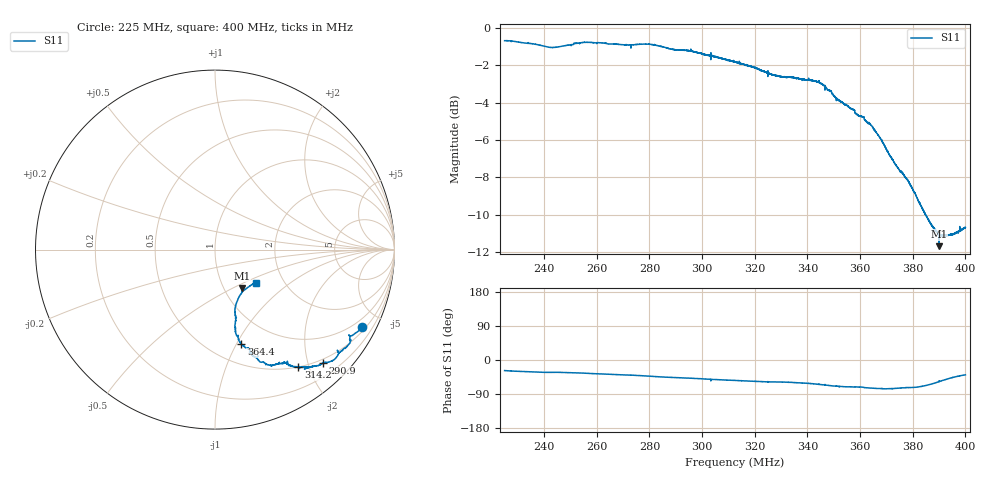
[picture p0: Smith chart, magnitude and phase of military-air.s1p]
! Calibrated averaged scanner-service zoom
# Hz S RI R 50
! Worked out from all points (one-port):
!   10001 points, 225 MHz to 400 MHz, reference 50 ohm
!   lowest |S11| = -11.7 dB at 390 MHz (marker M1), VSWR 1.71, Z = 60.7 - j27.8 ohm
!   |S11| at or under -10 dB: 384.9 MHz to end of sweep
!   S11 on the Smith chart (normalised r, x): 225 MHz: 0.67, -3.92; 290.9 MHz: 0.43, -2.27; 314.2 MHz: 0.50, -1.83; 364.4 MHz: 0.70, -1.05; 400 MHz: 1.45, -0.59
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2.25e8  0.8164 -0.4321
2.360775e8  0.7702 -0.4759
2.409075e8  0.7493 -0.4799
2.46875e8  0.7513 -0.4829
2.54855e8  0.7522 -0.519
2.6875e8  0.702 -0.5668
2.77045e8  0.679 -0.5972
2.8219e8  0.6497 -0.6214
2.90625e8  0.6029 -0.6308
2.9087e8  0.6019 -0.6305
3.02525e8  0.5349 -0.6524
3.125e8  0.4771 -0.6553
3.141625e8  0.4639 -0.6525
3.25065e8  0.4036 -0.6395
3.30245e8  0.3894 -0.6291
3.34375e8  0.376 -0.6334
3.411125e8  0.3385 -0.6395
3.45365e8  0.2981 -0.6431
3.5009e8  0.2389 -0.6118
3.5625e8  0.1996 -0.5753
3.60625e8  0.1848 -0.5495
3.644225e8  0.1464 -0.5264
3.701275e8  0.1141 -0.457
3.78125e8  0.1159 -0.3737
3.83375e8  0.1157 -0.3107
3.900075e8  0.1501 -0.2132
3.950475e8  0.1938 -0.2028
4e8  0.2269 -0.1849
